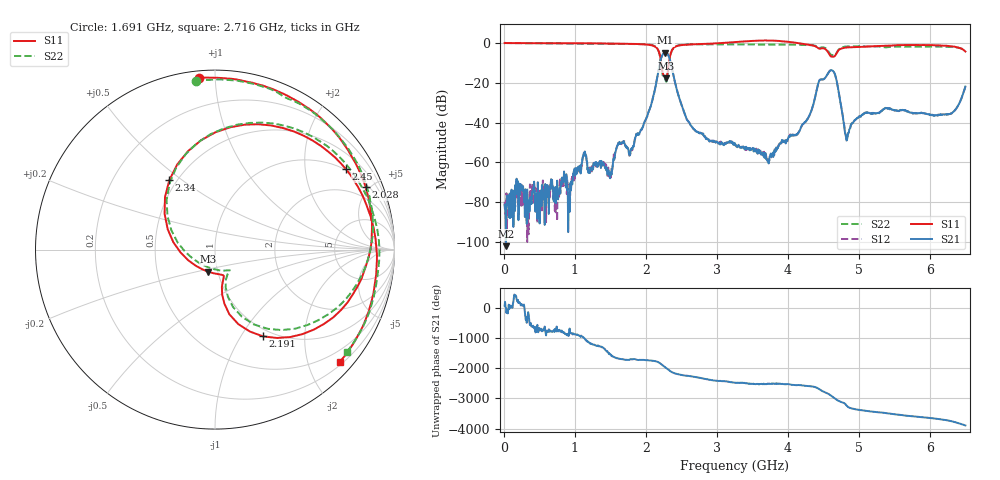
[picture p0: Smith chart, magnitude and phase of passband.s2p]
!Keysight Technologies,P9371A,MY57211172,A.13.10.05
!Date: Monday, March 30, 2026 15:52:35
!Correction: S11(Full 2 Port(1,2))
!S21(Full 2 Port(1,2))
!S12(Full 2 Port(1,2))
!S22(Full 2 Port(1,2))
!S2P File: Measurements: S11, S21, S12, S22:
# Hz S  dB  R 50
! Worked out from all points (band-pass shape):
!   1001 points, 10 MHz to 6.5 GHz, reference 50 ohm
!   highest |S21| = -4.88 dB at 2.275 GHz (marker M1); lowest = -102.3 dB at 29.47 MHz (marker M2)
!   |S21| within 3 dB of the highest: 2.212 GHz to 2.335 GHz (122.5 MHz wide, 5.39 % of centre)
!   lowest |S11| = -17.8 dB at 2.281 GHz (marker M3), VSWR 1.30, Z = 45.1 - j11.3 ohm
!   |S11| at or under -10 dB: 2.215 GHz to 2.324 GHz (108.4 MHz wide, 4.77 % of centre)
!   |S22| runs from -19.5 to 0.1 dB; largest |S21 - S12| = 0.00068
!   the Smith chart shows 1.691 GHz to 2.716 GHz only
!   S11 on the Smith chart (normalised r, x): 1.691 GHz: 0.04, +0.91; 2.028 GHz: 1.19, +4.74; 2.191 GHz: 0.90, -1.26; 2.34 GHz: 0.46, +0.45; 2.45 GHz: 0.97, +3.26; 2.716 GHz: 0.25, -2.58
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1e7  0.00 -1.5  -81.47 67.1  -79.90 69.5  0.00 -1.3
2.947e7  -0.01 -5.1  -102.25 -0.2  -81.73 166.3  -0.01 -4.8
5.5516e8  -0.09 -88.6  -78.59 15.7  -74.49 -21.7  -0.16 -88.3
1.09383e9  -0.13 -169.9  -61.00 138.0  -61.39 135.0  -0.31 -170.3
1.48972e9  -0.25 129.3  -65.81 -102.1  -68.20 -77.7  -0.36 129.2
1.69091e9  -0.35 95.2  -49.67 86.7  -49.76 89.1  -0.48 96.5
2.02839e9  -0.83 22.5  -35.60 63.1  -35.65 63.2  -0.71 26.8
2.17766e9  -3.85 -49.4  -13.75 -5.6  -13.74 -5.6  -4.05 -44.7
2.19064e9  -5.15 -61.0  -11.33 -22.9  -11.32 -22.9  -5.53 -56.5
2.27501e9  -17.57 -93.1  -4.88 -175.1  -4.88 -175.2  -18.59 -78.4
2.2815e9  -17.81 -106.5  -4.90 173.3  -4.90 173.3  -19.25 -93.5
2.33991e9  -6.68 123.3  -8.56 67.5  -8.56 67.4  -6.98 124.4
2.45024e9  -1.35 31.7  -25.37 -37.9  -25.35 -38.3  -1.27 36.9
2.71633e9  -0.56 -42.0  -44.67 -138.7  -44.39 -137.8  -0.63 -37.6
3.255e9  0.49 -136.9  -50.44 42.7  -51.49 41.6  -0.71 -140.4
3.87155e9  1.07 117.9  -51.87 13.0  -51.29 5.0  -0.74 120.0
4.33883e9  -1.15 37.1  -33.27 -82.5  -33.20 -83.0  -1.09 45.3
4.61141e9  -6.83 0.7  -13.69 -32.0  -13.69 -32.0  -5.94 6.4
4.83207e9  -2.22 -21.9  -48.76 -6.6  -48.87 -7.7  -1.71 -9.4
5.42266e9  -1.30 -137.7  -32.95 100.9  -32.90 100.9  -2.01 -115.3
6.09762e9  -1.14 111.5  -36.31 -73.0  -36.43 -73.1  -1.80 128.4
6.5e9  -4.27 24.9  -21.92 67.8  -21.94 67.5  -3.86 37.0
